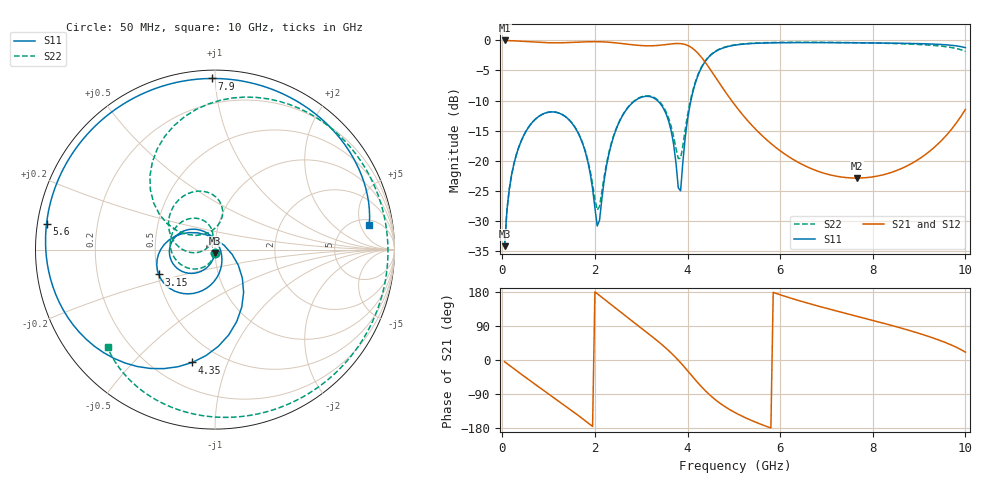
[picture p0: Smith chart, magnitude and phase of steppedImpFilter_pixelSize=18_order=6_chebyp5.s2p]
! freq	dB(S11)	phase(S11)	dB(S12)	phase(S12)
!  dB(S21)	phase(S21)	dB(S22)	phase(S22)
!S-par simulation data
#  GHz  S  DB  R 50
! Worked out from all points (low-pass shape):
!   200 points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, 50 MHz to 10 GHz, reference 50 ohm
!   highest |S21| = -0.01 dB at 50 MHz (marker M1); lowest = -22.9 dB at 7.65 GHz (marker M2)
!   |S21| within 3 dB of the highest: start of sweep to 4.321 GHz
!   lowest |S11| = -34.2 dB at 50 MHz (marker M3), VSWR 1.04, Z = 49.8 - j1.94 ohm
!   |S11| at or under -10 dB: start of sweep to 2.87 GHz; 3.351 GHz to 4.073 GHz (722.7 MHz wide, 19.5 % of centre)
!   |S22| runs from -34.2 to -0.3 dB; largest |S21 - S12| = 0
!   S11 on the Smith chart (normalised r, x): 50 MHz: 1.00, -0.04; 3.15 GHz: 0.51, -0.16; 4.35 GHz: 0.35, -0.76; 5.6 GHz: 0.03, +0.08; 7.9 GHz: 0.05, +0.98; 10 GHz: 6.19, +7.12
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0.05  -34.18 -93.9  -0.01 -4.7  -0.01 -4.7  -34.19 -95.0
0.25  -20.54 -110.6  -0.07 -23.0  -0.07 -23.0  -20.55 -116.3
0.6  -14.07 -138.3  -0.24 -54.5  -0.24 -54.5  -14.07 -152.0
1.15  -11.93 179.2  -0.40 -102.6  -0.40 -102.6  -11.92 154.7
1.75  -17.48 126.3  -0.25 -156.5  -0.25 -156.5  -17.34 102.6
2.05  -30.84 37.3  -0.21 175.0  -0.21 175.0  -28.19 134.7
2.45  -14.94 -92.0  -0.40 136.2  -0.40 136.2  -14.83 179.8
3.15  -9.30 -156.2  -0.90 69.9  -0.90 69.9  -9.21 115.7
3.4  -10.39 179.8  -0.81 45.4  -0.81 45.4  -10.21 93.0
3.65  -15.15 147.2  -0.58 18.1  -0.58 18.1  -14.38 77.6
3.85  -25.00 24.9  -0.54 -7.2  -0.54 -7.2  -19.61 125.3
4.05  -10.85 -56.2  -1.02 -35.4  -1.02 -35.4  -10.40 151.5
4.35  -3.86 -101.3  -3.30 -76.9  -3.30 -76.9  -3.77 119.7
4.65  -1.64 -133.0  -6.66 -109.5  -6.66 -109.5  -1.59 87.9
5.05  -0.76 -161.6  -11.01 -140.3  -11.01 -140.3  -0.71 55.9
5.6  -0.45 171.2  -15.75 -170.4  -15.75 -170.4  -0.39 23.4
6.7  -0.37 130.7  -21.40 146.4  -21.40 146.4  -0.31 -23.8
7.65  -0.40 99.4  -22.88 115.7  -22.88 115.7  -0.38 -55.6
7.9  -0.41 91.1  -22.77 107.8  -22.77 107.8  -0.41 -63.3
8.35  -0.45 75.9  -22.06 93.2  -22.06 93.2  -0.49 -76.7
9.3  -0.61 41.2  -17.96 58.3  -17.96 58.3  -0.83 -106.3
10  -1.20 9.2  -11.46 20.7  -11.46 20.7  -1.83 -137.7
